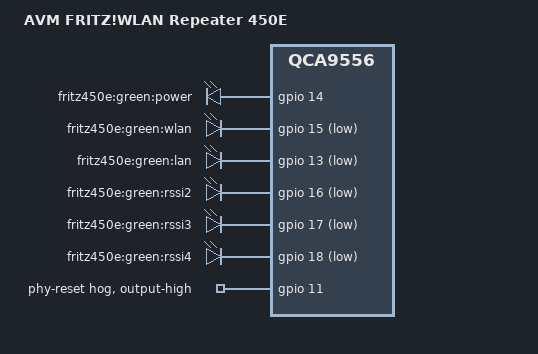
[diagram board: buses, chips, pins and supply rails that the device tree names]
// SPDX-License-Identifier: GPL-2.0-or-later OR MIT

#include <dt-bindings/gpio/gpio.h>

#include "qca9556_avm_fritz-repeater.dtsi"

/ {
	compatible = "avm,fritz450e", "qca,qca9556";
	model = "AVM FRITZ!WLAN Repeater 450E";

	aliases {
		led-boot = &led_power;
		led-failsafe = &led_power;
		led-running = &led_power;
		led-upgrade = &led_power;
	};

	leds {
		compatible = "gpio-leds";

		led_power: power {
			label = "fritz450e:green:power";
			gpios = <&gpio 14 GPIO_ACTIVE_HIGH>;
		};

		wlan {
			label = "fritz450e:green:wlan";
			gpios = <&gpio 15 GPIO_ACTIVE_LOW>;
			linux,default-trigger = "phy0tpt";
		};

		lan {
			label = "fritz450e:green:lan";
			gpios = <&gpio 13 GPIO_ACTIVE_LOW>;
		};

		rssi2 {
			label = "fritz450e:green:rssi2";
			gpios = <&gpio 16 GPIO_ACTIVE_LOW>;
		};

		rssi3 {
			label = "fritz450e:green:rssi3";
			gpios = <&gpio 17 GPIO_ACTIVE_LOW>;
		};

		rssi4 {
			label = "fritz450e:green:rssi4";
			gpios = <&gpio 18 GPIO_ACTIVE_LOW>;
		};
	};
};

&gpio {
	/*
	 * Wondered why rssi0 and rssi1 are missing?
	 *
	 * AVM seems to have run low on usable GPIO pins, so
	 * instead of adding a shift register like they did for
	 * the 1750E they figured out "Why not use the LEDs on
	 * the AR8033?".
	 *
	 * EVA configures the PHY in a way it does not display
	 * the link-state using it's LEDs. When we reset the PHY
	 * using the reset-mechanism of the PHY subsystem, this
	 * setting is cleared.
	 *
	 * We avoid this by keeping the reset line high.
	 */
	phy-reset {
		gpio-hog;
		gpios = <11 GPIO_ACTIVE_HIGH>;
		output-high;
		line-name = "phy-reset";
	};
};
